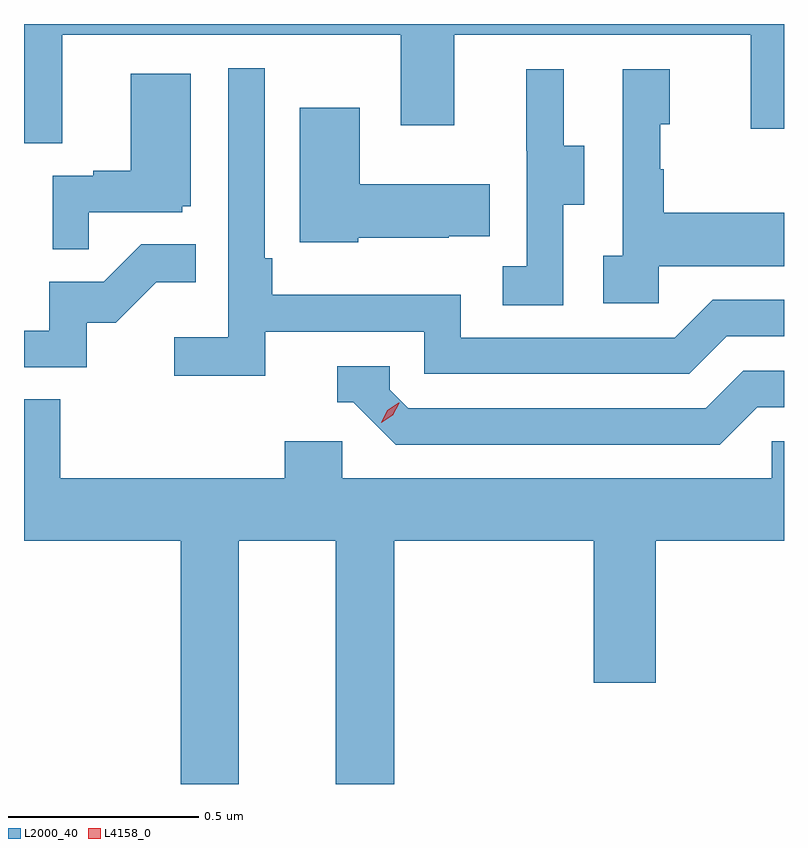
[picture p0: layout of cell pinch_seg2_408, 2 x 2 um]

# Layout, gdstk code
import gdstk
lib = gdstk.Library(unit=1e-6, precision=1e-09)
def P(c, l, *ps):  # polygons
    for p in ps: c.add(gdstk.Polygon(p, *l))
L2000_40 = (2000, 40)
L4158_0 = (4158, 0)

pinch_seg2_408 = lib.new_cell('pinch_seg2_408')
P(pinch_seg2_408, L2000_40, [(966.805,609.008),(967.697,609.008),(967.697,608.769),(967.837,608.769),(967.837,609.008),(968.618,609.008),(968.618,608.76),(968.705,608.76),(968.705,609.036),(966.705,609.036),(966.705,608.722),(966.805,608.722)],
  [(967.34,608.226),(967.758,608.226),(967.758,608.115),(968.455,608.115),(968.554,608.214),(968.705,608.214),(968.705,608.31),(968.517,608.31),(968.418,608.211),(967.854,608.211),(967.854,608.323),(967.358,608.323),(967.358,608.419),(967.338,608.419),(967.338,608.92),(967.242,608.92),(967.242,608.212),(967.101,608.212),(967.101,608.11),(967.34,608.11)],
  [(968.376,608.399),(968.705,608.399),(968.705,608.539),(968.389,608.539),(968.389,608.654),(968.379,608.654),(968.379,608.772),(968.404,608.772),(968.404,608.917),(968.28,608.917),(968.28,608.426),(968.229,608.426),(968.229,608.301),(968.376,608.301)],
  [(968.124,608.56),(968.179,608.56),(968.179,608.715),(968.125,608.715),(968.125,608.917),(968.027,608.917),(968.027,608.703),(968.028,608.703),(968.028,608.399),(967.965,608.399),(967.965,608.296),(968.124,608.296)],
  [(966.875,608.541),(967.122,608.541),(967.122,608.556),(967.144,608.556),(967.144,608.905),(966.986,608.905),(966.986,608.65),(966.887,608.65),(966.887,608.637),(966.78,608.637),(966.78,608.443),(966.875,608.443)],
  [(967.584,608.474),(967.823,608.474),(967.823,608.477),(967.931,608.477),(967.931,608.614),(967.588,608.614),(967.588,608.815),(967.43,608.815),(967.43,608.462),(967.584,608.462)],
  [(966.87,608.25),(966.946,608.25),(967.053,608.357),(967.157,608.357),(967.157,608.456),(967.013,608.456),(966.915,608.358),(966.771,608.358),(966.771,608.229),(966.705,608.229),(966.705,608.133),(966.87,608.133)],
  [(968.635,608.028),(968.705,608.028),(968.705,608.124),(968.598,608.124),(968.499,608.025),(967.716,608.025),(967.668,608.073),(967.668,608.136),(967.529,608.136),(967.529,608.04),(967.572,608.04),(967.683,607.929),(968.536,607.929)],
  [(966.8,608.048),(966.705,608.048),(966.705,607.676),(967.118,607.676),(967.118,607.036),(967.27,607.036),(967.27,607.676),(967.526,607.676),(967.526,607.036),(967.679,607.036),(967.679,607.676),(968.204,607.676),(968.204,607.302),(968.368,607.302),(968.368,607.676),(968.705,607.676),(968.705,607.938),(968.673,607.938),(968.673,607.84),(967.542,607.84),(967.542,607.938),(967.391,607.938),(967.391,607.84),(966.8,607.84)])
P(pinch_seg2_408, L4158_0, [(967.645,607.987),(967.645,607.987),(967.661,608.019),(967.691,608.039),(967.692,608.039),(967.692,608.038),(967.676,608.006),(967.645,607.987)])

lib.write_gds('pinch_seg2_408.gds')
